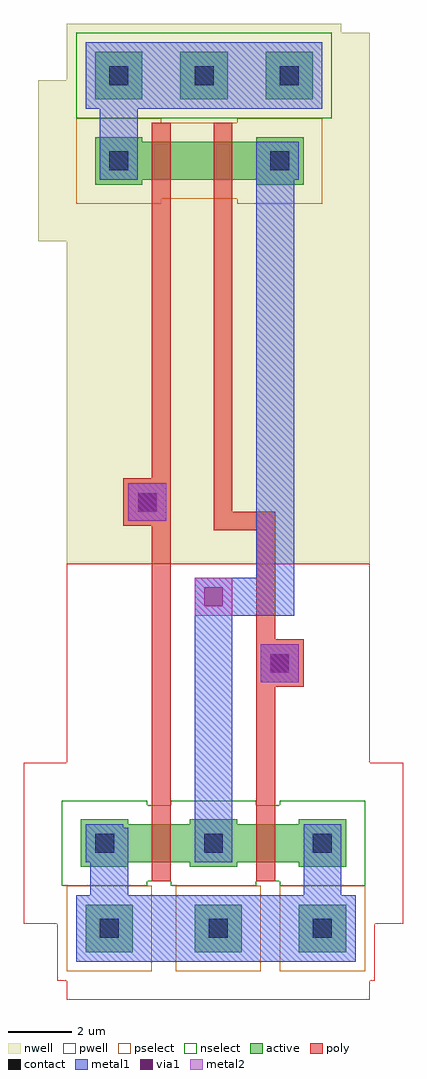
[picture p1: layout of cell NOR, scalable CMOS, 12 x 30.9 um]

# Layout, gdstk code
import gdstk
lib = gdstk.Library(unit=1e-6, precision=1e-09)
def R(c, l, rs):  # rectangles x0, y0, x1, y1
    for r in rs: c.add(gdstk.rectangle(r[:2], r[2:], *l))
def A(c, l, x, y, w, h, nx, ny, dx, dy):  # array of equal rectangles
    R(c, l, [(x+i*dx, y+j*dy, x+i*dx+w, y+j*dy+h) for i in range(nx) for j in range(ny)])
contact = (25, 0)
pwell = (41, 0)
nwell = (42, 0)
active = (43, 0)
pselect = (44, 0)
nselect = (45, 0)
poly = (46, 0)
metal1 = (49, 0)
via1 = (50, 0)
metal2 = (51, 0)

nor = lib.new_cell('NOR')
A(nor, contact, -19.8, -12.15, 0.6, 0.6, 3, 1, 3.45, 0)
A(nor, contact, -19.35, 12.15, 0.6, 0.6, 3, 1, 2.7, 0)
R(nor, contact, [(-19.65,-14.85,-19.05,-14.25), (-16.2,-14.85,-15.6,-14.25), (-12.9,-14.85,-12.3,-14.25), (-14.25,-6.45,-13.65,-5.85), (-18.45,-1.35,-17.85,-0.75), (-19.35,9.45,-18.75,10.05), (-14.25,9.45,-13.65,10.05)])
A(nor, pwell, -22.05, -14.4, 5.1, 5.1, 3, 1, 3.45, 0)
R(nor, pwell, [(-20.7,-16.8,-11.1,-3), (-21,-16.2,-17.7,-12.9), (-17.55,-16.2,-14.25,-12.9), (-14.25,-16.2,-10.95,-12.9), (-20.7,-14.25,-14.7,-9.45), (-17.4,-14.25,-11.4,-9.45), (-18.825,-14.1,-13.8,-9.6), (-18.825,-14.1,-13.275,-9.6), (-21.6,-14.04,-16.575,-9.54), (-15.525,-14.04,-10.5,-9.54)])
A(nor, nwell, -20.7, 10.8, 3.3, 3.3, 3, 1, 2.7, 0)
R(nor, nwell, [(-20.7,-3,-11.1,13.8), (-21.6,7.2,-16.5,12.3), (-16.5,7.2,-11.4,12.3), (-20.7,7.35,-14.7,12.15), (-18.75,7.35,-12.75,12.15), (-21.15,7.431,-16.575,11.931), (-19.125,7.431,-14.325,11.931), (-16.875,7.5,-11.85,12)])
A(nor, active, -20.25, -12.6, 1.5, 1.5, 3, 1, 3.45, 0)
A(nor, active, -19.8, 11.7, 1.5, 1.5, 3, 1, 2.7, 0)
R(nor, active, [(-20.1,-15.3,-18.6,-13.8), (-16.65,-15.3,-15.15,-13.8), (-13.35,-15.3,-11.85,-13.8), (-18.9,-12.45,-16.5,-11.25), (-15.6,-12.45,-13.2,-11.25), (-17.025,-12.3,-15.6,-11.4), (-17.025,-12.3,-15.075,-11.4), (-19.8,-12.24,-18.375,-11.34), (-13.725,-12.24,-12.3,-11.34), (-19.8,9,-18.3,10.5), (-14.7,9,-13.2,10.5), (-18.9,9.15,-16.5,10.35), (-16.95,9.15,-14.55,10.35), (-19.35,9.231,-18.375,10.131), (-17.325,9.231,-16.125,10.131), (-15.075,9.3,-13.65,10.2)])
R(nor, pselect, [(-20.7,-15.9,-18,-13.2), (-17.25,-15.9,-14.55,-13.2), (-13.95,-15.9,-11.25,-13.2), (-20.4,8.4,-17.7,11.1), (-15.3,8.4,-12.6,11.1), (-19.5,8.55,-15.9,10.95), (-17.55,8.55,-13.95,10.95), (-19.95,8.631,-17.775,10.731), (-17.925,8.631,-15.525,10.731), (-15.675,8.7,-13.05,10.8)])
A(nor, nselect, -20.85, -13.2, 2.7, 2.7, 3, 1, 3.45, 0)
A(nor, nselect, -20.4, 11.1, 2.7, 2.7, 3, 1, 2.7, 0)
R(nor, nselect, [(-19.5,-13.05,-15.9,-10.65), (-16.2,-13.05,-12.6,-10.65), (-17.625,-12.9,-15,-10.8), (-17.625,-12.9,-14.475,-10.8), (-20.4,-12.84,-17.775,-10.74), (-14.325,-12.84,-11.7,-10.74)])
R(nor, poly, [(-18,-13.05,-17.4,-10.65), (-14.7,-13.05,-14.1,-10.65), (-18,-10.95,-17.4,-0.75), (-14.7,-10.95,-14.1,-5.85), (-14.7,-6.9,-13.2,-5.4), (-14.7,-6.45,-14.1,-1.35), (-14.7,-6.45,-13.65,-5.85), (-16.05,-1.95,-14.1,-1.35), (-16.05,-1.95,-15.45,8.85), (-18.9,-1.8,-17.4,-0.3), (-18.45,-1.35,-17.4,-0.75), (-18,-1.35,-17.4,8.85), (-18,8.55,-17.4,10.95), (-16.05,8.55,-15.45,10.95)])
A(nor, metal1, -20.1, -12.45, 1.2, 1.2, 3, 1, 3.45, 0)
A(nor, metal1, -19.65, 11.85, 1.2, 1.2, 3, 1, 2.7, 0)
R(nor, metal1, [(-20.4,-15.6,-14.85,-13.5), (-16.95,-15.6,-11.55,-13.5), (-19.95,-15.15,-18.75,-13.95), (-19.95,-15.15,-18.75,-11.37), (-16.5,-15.15,-15.3,-13.95), (-13.2,-15.15,-12,-13.95), (-13.2,-15.15,-12,-11.37), (-19.8,-15,-18.9,-14.1), (-16.65,-12.33,-15.45,-3.45), (-14.55,-6.75,-13.35,-5.55), (-14.55,-6.75,-13.35,-5.55), (-14.4,-6.6,-13.5,-5.7), (-16.65,-4.65,-15.45,-3.45), (-16.65,-4.65,-13.5,-3.45), (-14.7,-4.65,-13.5,10.35), (-18.75,-1.65,-17.55,-0.45), (-18.75,-1.65,-17.55,-0.45), (-18.6,-1.5,-17.7,-0.6), (-19.65,9.15,-18.45,10.35), (-19.65,9.15,-18.45,13.05), (-14.55,9.15,-13.35,10.35), (-20.1,11.4,-15.3,13.5), (-17.4,11.4,-12.6,13.5), (-14.25,11.85,-13.05,13.05)])
R(nor, via1, [(-14.25,-6.45,-13.65,-5.85), (-16.35,-4.35,-15.75,-3.75), (-18.45,-1.35,-17.85,-0.75)])
R(nor, metal2, [(-14.55,-6.75,-13.35,-5.55), (-16.65,-4.65,-15.45,-3.45), (-18.75,-1.65,-17.55,-0.45)])

lib.write_gds('NOR.gds')
